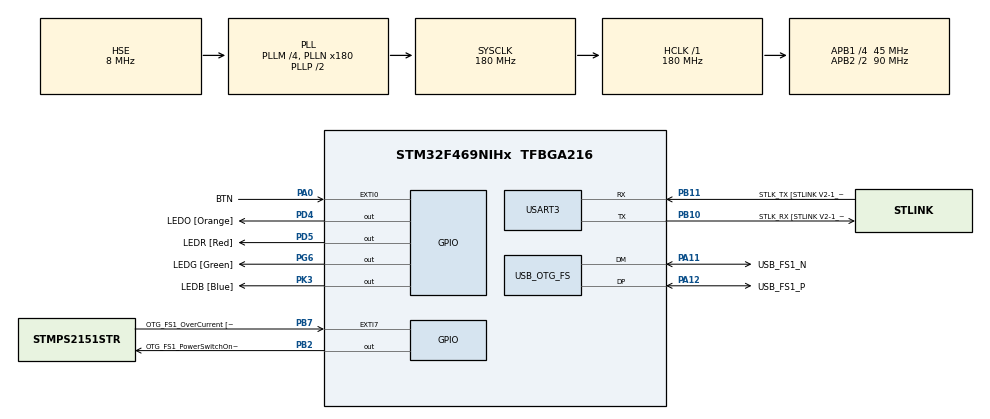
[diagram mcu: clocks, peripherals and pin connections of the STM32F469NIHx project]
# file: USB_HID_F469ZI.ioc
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Mcu.Family=STM32F4
PA11.GPIO_Speed=GPIO_SPEED_FREQ_VERY_HIGH
USB_DEVICE.CLASS_NAME_FS=HID
PK3.Signal=GPIO_Output
VP_SYS_VS_tim6.Mode=TIM6
RCC.CortexFreq_Value=180000000
PG6.Signal=GPIO_Output
RCC.PLLDSIIDF=DSI_PLL_IN_DIV2
PB10.GPIO_Speed=GPIO_SPEED_FREQ_VERY_HIGH
PB10.GPIO_PuPd=GPIO_PULLUP
PB10.Mode=Asynchronous
NVIC.TIM6_DAC_IRQn=true\:0\:0\:false\:false\:true\:false\:true
PA14.GPIO_Label=SWCLK
PG6.GPIO_Label=LEDG [Green]
PA11.Mode=Device_Only
PA0/WKUP.Signal=GPXTI0
PC14/OSC32_IN.Mode=LSE-External-Oscillator
PA11.GPIO_PuPd=GPIO_NOPULL
PB11.GPIO_PuPd=GPIO_PULLUP
PB7.GPIO_ModeDefaultEXTI=GPIO_MODE_IT_RISING
PB11.Signal=USART3_RX
RCC.SYSCLKSource=RCC_SYSCLKSOURCE_PLLCLK
ProjectManager.StackSize=0x400
PB11.GPIO_Speed=GPIO_SPEED_FREQ_VERY_HIGH
PA12.Signal=USB_OTG_FS_DP
PH0/OSC_IN.Mode=HSE-External-Oscillator
RCC.HCLKFreq_Value=180000000
PD4.Signal=GPIO_Output
RCC.APB2TimFreq_Value=180000000
PB2/BOOT1.GPIO_Label=OTG_FS1_PowerSwitchOn [STMPS2151STR_En]
PH1/OSC_OUT.Signal=RCC_OSC_OUT
RCC.AHBFreq_Value=180000000
RCC.HSE_VALUE=8000000
PG6.GPIO_PuPd=GPIO_NOPULL
PA14.Mode=Serial_Wire
PB2/BOOT1.GPIO_PuPd=GPIO_NOPULL
PD4.GPIO_ModeDefaultOutputPP=GPIO_MODE_OUTPUT_OD
PB7.Signal=GPXTI7
PK3.GPIO_ModeDefaultOutputPP=GPIO_MODE_OUTPUT_OD
PH1/OSC_OUT.Mode=HSE-External-Oscillator
PG6.GPIO_ModeDefaultOutputPP=GPIO_MODE_OUTPUT_OD
PB7.GPIO_Label=OTG_FS1_OverCurrent [STMPS2151STR_FAULT]
PB2/BOOT1.GPIO_ModeDefaultOutputPP=GPIO_MODE_OUTPUT_PP
Mcu.Package=TFBGA216
NVIC.TimeBase=TIM6_DAC_IRQn
PC14/OSC32_IN.Signal=RCC_OSC32_IN
PD5.GPIO_Label=LEDR [Red]
NVIC.OTG_FS_IRQn=true\:0\:0\:false\:false\:true\:true\:true
NVIC.TimeBaseIP=TIM6
USB_OTG_FS.VirtualMode=Device_Only
RCC.PLLSAIN=144
RCC.PLLSAIP=RCC_PLLSAIP_DIV6
PB2/BOOT1.GPIO_Speed=GPIO_SPEED_FREQ_LOW
RCC.APB2CLKDivider=RCC_HCLK_DIV2
RCC.PLLSAIQ=2
RCC.APB1TimFreq_Value=90000000
PD5.GPIO_Speed=GPIO_SPEED_FREQ_LOW
PB11.GPIO_Mode=GPIO_MODE_AF_PP
PA12.GPIO_PuPd=GPIO_NOPULL
PA12.GPIO_Speed=GPIO_SPEED_FREQ_VERY_HIGH
PG6.GPIO_Speed=GPIO_SPEED_FREQ_LOW
PB7.GPIO_PuPd=GPIO_NOPULL
USB_DEVICE.VirtualModeFS=Hid_FS
PB11.GPIO_Label=STLK_TX [STLINK V2-1_U2_TX]
PA11.GPIO_Label=USB_FS1_N
PD5.Signal=GPIO_Output
RCC.APB1CLKDivider=RCC_HCLK_DIV4
PA12.GPIO_Label=USB_FS1_P
RCC.PLLSAIRDiv=RCC_PLLSAIDIVR_4
PA13.Signal=SYS_JTMS-SWDIO
PD4.GPIO_PuPd=GPIO_NOPULL
PB10.GPIO_Mode=GPIO_MODE_AF_PP
PB2/BOOT1.Signal=GPIO_Output
PB11.Mode=Asynchronous
ProjectManager.TargetToolchain=STM32CubeIDE
PB10.GPIO_Label=STLK_RX [STLINK V2-1_U2_RX]
RCC.USBFreq_Value=48000000
PB10.Signal=USART3_TX
RCC.USBCLockSelection=RCC_CLK48CLKSOURCE_PLLSAIP
PK3.GPIO_PuPd=GPIO_NOPULL
board=STM32F469I-DISCO
RCC.VCOOutputFreq_Value=360000000
PA12.GPIO_Mode=GPIO_MODE_AF_PP
PH0/OSC_IN.Signal=RCC_OSC_IN
VP_USB_DEVICE_VS_USB_DEVICE_HID_FS.Mode=HID_FS
RCC.APB2Freq_Value=90000000
PD4.GPIO_Label=LEDO [Orange]
PD4.GPIO_Speed=GPIO_SPEED_FREQ_LOW
RCC.PLLDSINDIV=125
PA0/WKUP.GPIO_Label=BTN
PD5.GPIO_PuPd=GPIO_NOPULL
PA13.Mode=Serial_Wire
Mcu.Name=STM32F469NIHx
PA13.GPIO_Label=SWDIO
NVIC.EXTI0_IRQn=true\:0\:0\:false\:false\:true\:true\:true
RCC.SYSCLKFreq_VALUE=180000000
PA12.Mode=Device_Only
USART3.VirtualMode=VM_ASYNC
PC15/OSC32_OUT.Mode=LSE-External-Oscillator
PA11.Signal=USB_OTG_FS_DM
PA14.Signal=SYS_JTCK-SWCLK
ProjectManager.HeapSize=0x200
PK3.GPIO_Label=LEDB [Blue]
RCC.PLLQ=6
NVIC.PriorityGroup=NVIC_PRIORITYGROUP_4
RCC.PLLR=6
RCC.PLLM=4
PK3.GPIO_Speed=GPIO_SPEED_FREQ_LOW
RCC.PLLN=180
PC15/OSC32_OUT.Signal=RCC_OSC32_OUT
PD5.GPIO_ModeDefaultOutputPP=GPIO_MODE_OUTPUT_OD
PA11.GPIO_Mode=GPIO_MODE_AF_PP
RCC.APB1Freq_Value=45000000
USB_DEVICE.VirtualMode-HID_FS=Hid

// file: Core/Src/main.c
/* USER CODE BEGIN Header */
/**
 ******************************************************************************
 * @file           : main.c
 * @brief          : Main program body
 ******************************************************************************
 * @attention
 *
 * <h2><center>&copy; Copyright (c) 2021 STMicroelectronics.
 * All rights reserved.</center></h2>
 *
 * This software component is licensed by ST under Ultimate Liberty license
 * SLA0044, the "License"; You may not use this file except in compliance with
 * the License. You may obtain a copy of the License at:
 *                             www.st.com/SLA0044
 *
 ******************************************************************************
 */
/* USER CODE END Header */
#include "main.h"
#include "usb_device.h"

/* USER CODE BEGIN Includes */
#include "usbd_hid.h"
/* USER CODE END Includes */

UART_HandleTypeDef huart3;

/* USER CODE BEGIN PV */
extern USBD_HandleTypeDef hUsbDeviceFS;

struct keyboardHID_t {
	uint8_t id;
	uint8_t modifiers;
	uint8_t key1;
	uint8_t key2;
	uint8_t key3;
};

struct keyboardHID_t keyboardHID;

/* USER CODE END PV */

void SystemClock_Config(void);
static void MX_GPIO_Init(void);
static void MX_USART3_UART_Init(void);

/* USER CODE BEGIN 0 */
void HAL_GPIO_EXTI_Callback(uint16_t GPIO_Pin) {
	keyboardHID.id = 1;
	keyboardHID.modifiers = 0;
	keyboardHID.key1 = 0x04;
	keyboardHID.key2 = 0x05;
	keyboardHID.key3 = 0;
//	uint8_t send[2] = { 0x04, 0x05 };
	if (GPIO_Pin == BTN_Pin) {
		HAL_GPIO_TogglePin(LEDB_GPIO_Port, LEDB_Pin);
		USBD_HID_SendReport(&hUsbDeviceFS, &keyboardHID,
				sizeof(struct keyboardHID_t));
		keyboardHID.key1 = 0;
		keyboardHID.key2 = 0;
		keyboardHID.key3 = 0;
		HAL_Delay(30);
		USBD_HID_SendReport(&hUsbDeviceFS, &keyboardHID,
				sizeof(struct keyboardHID_t));
	}
}
/* USER CODE END 0 */

int main(void) {

	/* MCU Configuration--------------------------------------------------------*/

	/* Reset of all peripherals, Initializes the Flash interface and the Systick. */
	HAL_Init();

	/* Configure the system clock */
	SystemClock_Config();

	/* Initialize all configured peripherals */
	MX_GPIO_Init();
	MX_USART3_UART_Init();
	MX_USB_DEVICE_Init();
	/* USER CODE BEGIN 2 */
	HAL_GPIO_WritePin(LEDB_GPIO_Port, LEDB_Pin, GPIO_PIN_SET);
	/* USER CODE END 2 */

	/* Infinite loop */
	while (1) {

	}
}

void SystemClock_Config(void) {
	RCC_OscInitTypeDef RCC_OscInitStruct = { 0 };
	RCC_ClkInitTypeDef RCC_ClkInitStruct = { 0 };
	RCC_PeriphCLKInitTypeDef PeriphClkInitStruct = { 0 };

	/** Configure the main internal regulator output voltage
	 */
	__HAL_RCC_PWR_CLK_ENABLE();
	__HAL_PWR_VOLTAGESCALING_CONFIG(PWR_REGULATOR_VOLTAGE_SCALE1);
	/** Initializes the RCC Oscillators according to the specified parameters
	 * in the RCC_OscInitTypeDef structure.
	 */
	RCC_OscInitStruct.OscillatorType = RCC_OSCILLATORTYPE_HSE;
	RCC_OscInitStruct.HSEState = RCC_HSE_ON;
	RCC_OscInitStruct.PLL.PLLState = RCC_PLL_ON;
	RCC_OscInitStruct.PLL.PLLSource = RCC_PLLSOURCE_HSE;
	RCC_OscInitStruct.PLL.PLLM = 4;
	RCC_OscInitStruct.PLL.PLLN = 180;
	RCC_OscInitStruct.PLL.PLLP = RCC_PLLP_DIV2;
	RCC_OscInitStruct.PLL.PLLQ = 6;
	RCC_OscInitStruct.PLL.PLLR = 6;
	if (HAL_RCC_OscConfig(&RCC_OscInitStruct) != HAL_OK) {
		Error_Handler();
	}
	/** Activate the Over-Drive mode
	 */
	if (HAL_PWREx_EnableOverDrive() != HAL_OK) {
		Error_Handler();
	}
	/** Initializes the CPU, AHB and APB buses clocks
	 */
	RCC_ClkInitStruct.ClockType = RCC_CLOCKTYPE_HCLK | RCC_CLOCKTYPE_SYSCLK
			| RCC_CLOCKTYPE_PCLK1 | RCC_CLOCKTYPE_PCLK2;
	RCC_ClkInitStruct.SYSCLKSource = RCC_SYSCLKSOURCE_PLLCLK;
	RCC_ClkInitStruct.AHBCLKDivider = RCC_SYSCLK_DIV1;
	RCC_ClkInitStruct.APB1CLKDivider = RCC_HCLK_DIV4;
	RCC_ClkInitStruct.APB2CLKDivider = RCC_HCLK_DIV2;

	if (HAL_RCC_ClockConfig(&RCC_ClkInitStruct, FLASH_LATENCY_5) != HAL_OK) {
		Error_Handler();
	}
	PeriphClkInitStruct.PeriphClockSelection = RCC_PERIPHCLK_CLK48;
	PeriphClkInitStruct.PLLSAI.PLLSAIN = 144;
	PeriphClkInitStruct.PLLSAI.PLLSAIP = RCC_PLLSAIP_DIV6;
	PeriphClkInitStruct.Clk48ClockSelection = RCC_CLK48CLKSOURCE_PLLSAIP;
	if (HAL_RCCEx_PeriphCLKConfig(&PeriphClkInitStruct) != HAL_OK) {
		Error_Handler();
	}
}

static void MX_USART3_UART_Init(void) {

	huart3.Instance = USART3;
	huart3.Init.BaudRate = 115200;
	huart3.Init.WordLength = UART_WORDLENGTH_8B;
	huart3.Init.StopBits = UART_STOPBITS_1;
	huart3.Init.Parity = UART_PARITY_NONE;
	huart3.Init.Mode = UART_MODE_TX_RX;
	huart3.Init.HwFlowCtl = UART_HWCONTROL_NONE;
	huart3.Init.OverSampling = UART_OVERSAMPLING_16;
	if (HAL_UART_Init(&huart3) != HAL_OK) {
		Error_Handler();
	}

}

static void MX_GPIO_Init(void) {
	GPIO_InitTypeDef GPIO_InitStruct = { 0 };

	/* GPIO Ports Clock Enable */
	__HAL_RCC_GPIOA_CLK_ENABLE();
	__HAL_RCC_GPIOB_CLK_ENABLE();
	__HAL_RCC_GPIOD_CLK_ENABLE();
	__HAL_RCC_GPIOK_CLK_ENABLE();
	__HAL_RCC_GPIOC_CLK_ENABLE();
	__HAL_RCC_GPIOH_CLK_ENABLE();
	__HAL_RCC_GPIOG_CLK_ENABLE();

	/*Configure GPIO pin Output Level */
	HAL_GPIO_WritePin(GPIOD, LEDR_Pin | LEDO_Pin, GPIO_PIN_RESET);

	/*Configure GPIO pin Output Level */
	HAL_GPIO_WritePin(LEDB_GPIO_Port, LEDB_Pin, GPIO_PIN_RESET);

	/*Configure GPIO pin Output Level */
	HAL_GPIO_WritePin(LEDG_GPIO_Port, LEDG_Pin, GPIO_PIN_RESET);

	/*Configure GPIO pin Output Level */
	HAL_GPIO_WritePin(OTG_FS1_PowerSwitchOn_GPIO_Port,
	OTG_FS1_PowerSwitchOn_Pin, GPIO_PIN_RESET);

	/*Configure GPIO pin : OTG_FS1_OverCurrent_Pin */
	GPIO_InitStruct.Pin = OTG_FS1_OverCurrent_Pin;
	GPIO_InitStruct.Mode = GPIO_MODE_IT_RISING;
	GPIO_InitStruct.Pull = GPIO_NOPULL;
	HAL_GPIO_Init(OTG_FS1_OverCurrent_GPIO_Port, &GPIO_InitStruct);

	/*Configure GPIO pins : LEDR_Pin LEDO_Pin */
	GPIO_InitStruct.Pin = LEDR_Pin | LEDO_Pin;
	GPIO_InitStruct.Mode = GPIO_MODE_OUTPUT_OD;
	GPIO_InitStruct.Pull = GPIO_NOPULL;
	GPIO_InitStruct.Speed = GPIO_SPEED_FREQ_LOW;
	HAL_GPIO_Init(GPIOD, &GPIO_InitStruct);

	/*Configure GPIO pin : LEDB_Pin */
	GPIO_InitStruct.Pin = LEDB_Pin;
	GPIO_InitStruct.Mode = GPIO_MODE_OUTPUT_OD;
	GPIO_InitStruct.Pull = GPIO_NOPULL;
	GPIO_InitStruct.Speed = GPIO_SPEED_FREQ_LOW;
	HAL_GPIO_Init(LEDB_GPIO_Port, &GPIO_InitStruct);

	/*Configure GPIO pin : LEDG_Pin */
	GPIO_InitStruct.Pin = LEDG_Pin;
	GPIO_InitStruct.Mode = GPIO_MODE_OUTPUT_OD;
	GPIO_InitStruct.Pull = GPIO_NOPULL;
	GPIO_InitStruct.Speed = GPIO_SPEED_FREQ_LOW;
	HAL_GPIO_Init(LEDG_GPIO_Port, &GPIO_InitStruct);

	/*Configure GPIO pin : OTG_FS1_PowerSwitchOn_Pin */
	GPIO_InitStruct.Pin = OTG_FS1_PowerSwitchOn_Pin;
	GPIO_InitStruct.Mode = GPIO_MODE_OUTPUT_PP;
	GPIO_InitStruct.Pull = GPIO_NOPULL;
	GPIO_InitStruct.Speed = GPIO_SPEED_FREQ_LOW;
	HAL_GPIO_Init(OTG_FS1_PowerSwitchOn_GPIO_Port, &GPIO_InitStruct);

	/*Configure GPIO pin : BTN_Pin */
	GPIO_InitStruct.Pin = BTN_Pin;
	GPIO_InitStruct.Mode = GPIO_MODE_IT_RISING;
	GPIO_InitStruct.Pull = GPIO_NOPULL;
	HAL_GPIO_Init(BTN_GPIO_Port, &GPIO_InitStruct);

	/* EXTI interrupt init*/
	HAL_NVIC_SetPriority(EXTI0_IRQn, 0, 0);
	HAL_NVIC_EnableIRQ(EXTI0_IRQn);

}

void HAL_TIM_PeriodElapsedCallback(TIM_HandleTypeDef *htim) {
	if (htim->Instance == TIM6) {
		HAL_IncTick();
	}
}

void Error_Handler(void) {
	__disable_irq();
	while (1) {
	}
}

/************************ (C) COPYRIGHT STMicroelectronics *****END OF FILE****/
